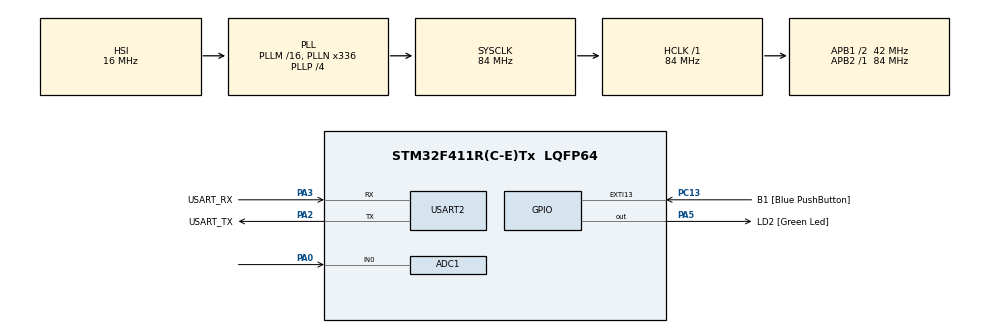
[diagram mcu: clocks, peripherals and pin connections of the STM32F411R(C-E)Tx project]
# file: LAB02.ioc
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ADC1.Channel-1\#ChannelRegularConversion=ADC_CHANNEL_0
ADC1.Channel-2\#ChannelRegularConversion=ADC_CHANNEL_TEMPSENSOR
ADC1.ContinuousConvMode=ENABLE
ADC1.DMAContinuousRequests=ENABLE
ADC1.NbrOfConversion=2
ADC1.NbrOfConversionFlag=1
ADC1.Rank-1\#ChannelRegularConversion=1
ADC1.Rank-2\#ChannelRegularConversion=2
ADC1.SamplingTime-1\#ChannelRegularConversion=ADC_SAMPLETIME_56CYCLES
ADC1.SamplingTime-2\#ChannelRegularConversion=ADC_SAMPLETIME_56CYCLES
ADC1.master=1
Dma.ADC1.0.Direction=DMA_PERIPH_TO_MEMORY
Dma.ADC1.0.FIFOMode=DMA_FIFOMODE_DISABLE
Dma.ADC1.0.Instance=DMA2_Stream0
Dma.ADC1.0.MemDataAlignment=DMA_MDATAALIGN_HALFWORD
Dma.ADC1.0.MemInc=DMA_MINC_ENABLE
Dma.ADC1.0.Mode=DMA_CIRCULAR
Dma.ADC1.0.PeriphDataAlignment=DMA_PDATAALIGN_HALFWORD
Dma.ADC1.0.PeriphInc=DMA_PINC_DISABLE
Dma.ADC1.0.Priority=DMA_PRIORITY_LOW
Dma.Request0=ADC1
Mcu.Family=STM32F4
Mcu.Name=STM32F411R(C-E)Tx
Mcu.Package=LQFP64
NVIC.DMA2_Stream0_IRQn=true\:0\:0\:false\:false\:true\:false\:true\:true
NVIC.EXTI15_10_IRQn=true\:0\:0\:false\:false\:true\:true\:true\:true
NVIC.PriorityGroup=NVIC_PRIORITYGROUP_0
PA0-WKUP.Signal=ADCx_IN0
PA13.GPIO_Label=TMS
PA13.Mode=Serial_Wire
PA13.Signal=SYS_JTMS-SWDIO
PA14.GPIO_Label=TCK
PA14.Mode=Serial_Wire
PA14.Signal=SYS_JTCK-SWCLK
PA2.GPIO_Label=USART_TX
PA2.Mode=Asynchronous
PA2.Signal=USART2_TX
PA3.GPIO_Label=USART_RX
PA3.Mode=Asynchronous
PA3.Signal=USART2_RX
PA5.GPIO_Label=LD2 [Green Led]
PA5.Signal=GPIO_Output
PB3.GPIO_Label=SWO
PB3.Signal=SYS_JTDO-SWO
PC13-ANTI_TAMP.GPIO_Label=B1 [Blue PushButton]
PC13-ANTI_TAMP.GPIO_ModeDefaultEXTI=GPIO_MODE_IT_FALLING
PC13-ANTI_TAMP.Signal=GPXTI13
PC14-OSC32_IN.Mode=LSE-External-Oscillator
PC14-OSC32_IN.Signal=RCC_OSC32_IN
PC15-OSC32_OUT.Mode=LSE-External-Oscillator
PC15-OSC32_OUT.Signal=RCC_OSC32_OUT
PH0\ -\ OSC_IN.Mode=HSE-External-Clock-Source
PH0\ -\ OSC_IN.Signal=RCC_OSC_IN
PH1\ -\ OSC_OUT.Mode=HSE-External-Clock-Source
PH1\ -\ OSC_OUT.Signal=RCC_OSC_OUT
ProjectManager.HeapSize=0x200
ProjectManager.StackSize=0x400
ProjectManager.TargetToolchain=STM32CubeIDE
RCC.48MHZClocksFreq_Value=84000000
RCC.AHBFreq_Value=84000000
RCC.APB1CLKDivider=RCC_HCLK_DIV2
RCC.APB1Freq_Value=42000000
RCC.APB1TimFreq_Value=84000000
RCC.APB2Freq_Value=84000000
RCC.APB2TimFreq_Value=84000000
RCC.CortexFreq_Value=84000000
RCC.FLatency-AdvancedSettings=FLASH_LATENCY_2
RCC.HCLKFreq_Value=84000000
RCC.HSE_VALUE=8000000
RCC.HSI_VALUE=16000000
RCC.PLLN=336
RCC.PLLP=RCC_PLLP_DIV4
RCC.SYSCLKFreq_VALUE=84000000
RCC.SYSCLKSource=RCC_SYSCLKSOURCE_PLLCLK
RCC.VCOOutputFreq_Value=336000000
SH.ADCx_IN0.0=ADC1_IN0,IN0
USART2.VirtualMode=VM_ASYNC
VP_ADC1_TempSens_Input.Mode=IN-TempSens
board=NUCLEO-F411RE

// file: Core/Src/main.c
/* USER CODE BEGIN Header */
/**
  ******************************************************************************
  * @file           : main.c
  * @brief          : Main program body
  ******************************************************************************
  * @attention
  *
  * Copyright (c) 2023 STMicroelectronics.
  * All rights reserved.
  *
  * This software is licensed under terms that can be found in the LICENSE file
  * in the root directory of this software component.
  * If no LICENSE file comes with this software, it is provided AS-IS.
  *
  ******************************************************************************
  */
/* USER CODE END Header */
#include "main.h"

ADC_HandleTypeDef hadc1;
DMA_HandleTypeDef hdma_adc1;

UART_HandleTypeDef huart2;

/* USER CODE BEGIN PV */

typedef struct
{
	uint16_t volt;
	uint16_t temp;
} adcVoltageMeter;

adcVoltageMeter adcDMA[10];

uint16_t adcVsum;
uint16_t adcVavg;
uint16_t newVolt;
float adcTempsum;
float adcTempavg;
float Vsense;
float tempC;
float tempK;

/* USER CODE END PV */

void SystemClock_Config(void);
static void MX_GPIO_Init(void);
static void MX_DMA_Init(void);
static void MX_USART2_UART_Init(void);
static void MX_ADC1_Init(void);

int main(void)
{

  /* MCU Configuration--------------------------------------------------------*/

  /* Reset of all peripherals, Initializes the Flash interface and the Systick. */
  HAL_Init();

  /* Configure the system clock */
  SystemClock_Config();

  /* Initialize all configured peripherals */
  MX_GPIO_Init();
  MX_DMA_Init();
  MX_USART2_UART_Init();
  MX_ADC1_Init();

  /* Infinite loop */
  while (1)
  {

    /* USER CODE BEGIN 3 */
	  register int i;
	  HAL_Delay(1000);
	  for (i=0;i<10;i++){
		  adcVsum += adcDMA[i].volt;
		  adcTempsum += adcDMA[i].temp;
	  }
	  adcVavg = adcVsum/10;
	  adcVsum = 0;
	  adcTempavg = adcTempsum/10;
	  adcTempsum = 0;

	  newVolt = adcVavg*1.6118;

	  //TempC = ((Vsense-V25)/Avg_Slope)+25
	  //V25 = sensor's voltage at 25C =0.76V

	  //Sensor range [1.7,3.6]
	  //ADC bit [0,4095]
	  Vsense = (adcTempavg/2155.26)+1.7;
	  tempC = ((Vsense-0.76)/2.5)+25;
	  tempK = tempC + 273.15;
  }
  /* USER CODE END 3 */
}

void SystemClock_Config(void)
{
  RCC_OscInitTypeDef RCC_OscInitStruct = {0};
  RCC_ClkInitTypeDef RCC_ClkInitStruct = {0};

  /** Configure the main internal regulator output voltage
  */
  __HAL_RCC_PWR_CLK_ENABLE();
  __HAL_PWR_VOLTAGESCALING_CONFIG(PWR_REGULATOR_VOLTAGE_SCALE1);

  /** Initializes the RCC Oscillators according to the specified parameters
  * in the RCC_OscInitTypeDef structure.
  */
  RCC_OscInitStruct.OscillatorType = RCC_OSCILLATORTYPE_HSI;
  RCC_OscInitStruct.HSIState = RCC_HSI_ON;
  RCC_OscInitStruct.HSICalibrationValue = RCC_HSICALIBRATION_DEFAULT;
  RCC_OscInitStruct.PLL.PLLState = RCC_PLL_ON;
  RCC_OscInitStruct.PLL.PLLSource = RCC_PLLSOURCE_HSI;
  RCC_OscInitStruct.PLL.PLLM = 16;
  RCC_OscInitStruct.PLL.PLLN = 336;
  RCC_OscInitStruct.PLL.PLLP = RCC_PLLP_DIV4;
  RCC_OscInitStruct.PLL.PLLQ = 4;
  if (HAL_RCC_OscConfig(&RCC_OscInitStruct) != HAL_OK)
  {
    Error_Handler();
  }

  /** Initializes the CPU, AHB and APB buses clocks
  */
  RCC_ClkInitStruct.ClockType = RCC_CLOCKTYPE_HCLK|RCC_CLOCKTYPE_SYSCLK
                              |RCC_CLOCKTYPE_PCLK1|RCC_CLOCKTYPE_PCLK2;
  RCC_ClkInitStruct.SYSCLKSource = RCC_SYSCLKSOURCE_PLLCLK;
  RCC_ClkInitStruct.AHBCLKDivider = RCC_SYSCLK_DIV1;
  RCC_ClkInitStruct.APB1CLKDivider = RCC_HCLK_DIV2;
  RCC_ClkInitStruct.APB2CLKDivider = RCC_HCLK_DIV1;

  if (HAL_RCC_ClockConfig(&RCC_ClkInitStruct, FLASH_LATENCY_2) != HAL_OK)
  {
    Error_Handler();
  }
}

static void MX_ADC1_Init(void)
{

  ADC_ChannelConfTypeDef sConfig = {0};

  /** Configure the global features of the ADC (Clock, Resolution, Data Alignment and number of conversion)
  */
  hadc1.Instance = ADC1;
  hadc1.Init.ClockPrescaler = ADC_CLOCK_SYNC_PCLK_DIV4;
  hadc1.Init.Resolution = ADC_RESOLUTION_12B;
  hadc1.Init.ScanConvMode = ENABLE;
  hadc1.Init.ContinuousConvMode = ENABLE;
  hadc1.Init.DiscontinuousConvMode = DISABLE;
  hadc1.Init.ExternalTrigConvEdge = ADC_EXTERNALTRIGCONVEDGE_NONE;
  hadc1.Init.ExternalTrigConv = ADC_SOFTWARE_START;
  hadc1.Init.DataAlign = ADC_DATAALIGN_RIGHT;
  hadc1.Init.NbrOfConversion = 2;
  hadc1.Init.DMAContinuousRequests = ENABLE;
  hadc1.Init.EOCSelection = ADC_EOC_SINGLE_CONV;
  if (HAL_ADC_Init(&hadc1) != HAL_OK)
  {
    Error_Handler();
  }

  /** Configure for the selected ADC regular channel its corresponding rank in the sequencer and its sample time.
  */
  sConfig.Channel = ADC_CHANNEL_0;
  sConfig.Rank = 1;
  sConfig.SamplingTime = ADC_SAMPLETIME_56CYCLES;
  if (HAL_ADC_ConfigChannel(&hadc1, &sConfig) != HAL_OK)
  {
    Error_Handler();
  }

  /** Configure for the selected ADC regular channel its corresponding rank in the sequencer and its sample time.
  */
  sConfig.Channel = ADC_CHANNEL_TEMPSENSOR;
  sConfig.Rank = 2;
  if (HAL_ADC_ConfigChannel(&hadc1, &sConfig) != HAL_OK)
  {
    Error_Handler();
  }

}

static void MX_USART2_UART_Init(void)
{

  huart2.Instance = USART2;
  huart2.Init.BaudRate = 115200;
  huart2.Init.WordLength = UART_WORDLENGTH_8B;
  huart2.Init.StopBits = UART_STOPBITS_1;
  huart2.Init.Parity = UART_PARITY_NONE;
  huart2.Init.Mode = UART_MODE_TX_RX;
  huart2.Init.HwFlowCtl = UART_HWCONTROL_NONE;
  huart2.Init.OverSampling = UART_OVERSAMPLING_16;
  if (HAL_UART_Init(&huart2) != HAL_OK)
  {
    Error_Handler();
  }

}

static void MX_DMA_Init(void)
{

  /* DMA controller clock enable */
  __HAL_RCC_DMA2_CLK_ENABLE();

  /* DMA interrupt init */
  /* DMA2_Stream0_IRQn interrupt configuration */
  HAL_NVIC_SetPriority(DMA2_Stream0_IRQn, 0, 0);
  HAL_NVIC_EnableIRQ(DMA2_Stream0_IRQn);

}

static void MX_GPIO_Init(void)
{
  GPIO_InitTypeDef GPIO_InitStruct = {0};

  /* GPIO Ports Clock Enable */
  __HAL_RCC_GPIOC_CLK_ENABLE();
  __HAL_RCC_GPIOH_CLK_ENABLE();
  __HAL_RCC_GPIOA_CLK_ENABLE();
  __HAL_RCC_GPIOB_CLK_ENABLE();

  /*Configure GPIO pin Output Level */
  HAL_GPIO_WritePin(LD2_GPIO_Port, LD2_Pin, GPIO_PIN_RESET);

  /*Configure GPIO pin : B1_Pin */
  GPIO_InitStruct.Pin = B1_Pin;
  GPIO_InitStruct.Mode = GPIO_MODE_IT_FALLING;
  GPIO_InitStruct.Pull = GPIO_NOPULL;
  HAL_GPIO_Init(B1_GPIO_Port, &GPIO_InitStruct);

  /*Configure GPIO pin : LD2_Pin */
  GPIO_InitStruct.Pin = LD2_Pin;
  GPIO_InitStruct.Mode = GPIO_MODE_OUTPUT_PP;
  GPIO_InitStruct.Pull = GPIO_NOPULL;
  GPIO_InitStruct.Speed = GPIO_SPEED_FREQ_LOW;
  HAL_GPIO_Init(LD2_GPIO_Port, &GPIO_InitStruct);

  /* EXTI interrupt init*/
  HAL_NVIC_SetPriority(EXTI15_10_IRQn, 0, 0);
  HAL_NVIC_EnableIRQ(EXTI15_10_IRQn);

}

/* USER CODE BEGIN 4 */

void HAL_GPIO_EXTI_Callback(uint16_t GPIO_Pin)
{
	if (GPIO_Pin == GPIO_PIN_13)
	{
		HAL_ADC_Start_DMA(&hadc1, adcDMA, 20);
	}
}
void HAL_ADC_ConvCpltCallback(ADC_HandleTypeDef* hadc)
{

}

/* USER CODE END 4 */

void Error_Handler(void)
{
  __disable_irq();
  while (1)
  {
  }
}
